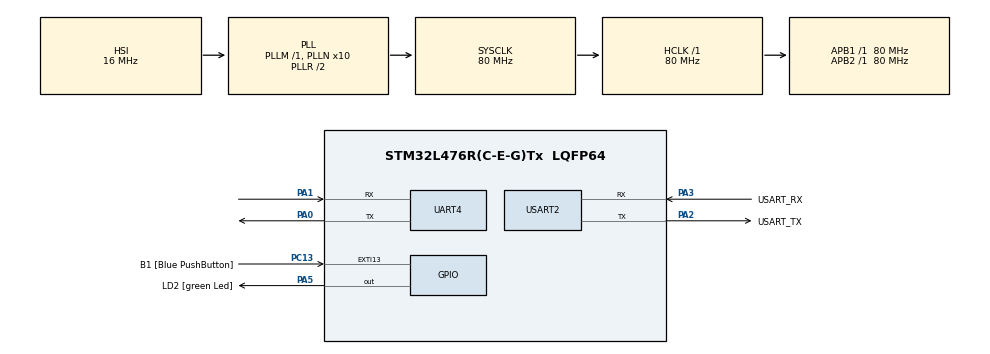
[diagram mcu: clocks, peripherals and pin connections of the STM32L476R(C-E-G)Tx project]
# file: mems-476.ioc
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Mcu.Family=STM32L4
Mcu.Name=STM32L476R(C-E-G)Tx
Mcu.Package=LQFP64
NVIC.PriorityGroup=NVIC_PRIORITYGROUP_4
NVIC.UART4_IRQn=true\:0\:0\:false\:false\:true
NVIC.USART2_IRQn=true\:0\:0\:false\:false\:true
PA0.Mode=Asynchronous
PA0.Signal=UART4_TX
PA1.Mode=Asynchronous
PA1.Signal=UART4_RX
PA13.GPIO_Label=TMS
PA13.Signal=SYS_JTMS-SWDIO
PA14.GPIO_Label=TCK
PA14.Signal=SYS_JTCK-SWCLK
PA2.GPIO_Label=USART_TX
PA2.GPIO_Mode=GPIO_MODE_AF_PP
PA2.GPIO_PuPd=GPIO_NOPULL
PA2.GPIO_Speed=GPIO_SPEED_FREQ_VERY_HIGH
PA2.Mode=Asynchronous
PA2.Signal=USART2_TX
PA3.GPIO_Label=USART_RX
PA3.GPIO_Mode=GPIO_MODE_AF_PP
PA3.GPIO_PuPd=GPIO_NOPULL
PA3.GPIO_Speed=GPIO_SPEED_FREQ_VERY_HIGH
PA3.Mode=Asynchronous
PA3.Signal=USART2_RX
PA5.GPIO_Label=LD2 [green Led]
PA5.GPIO_ModeDefaultOutputPP=GPIO_MODE_OUTPUT_PP
PA5.GPIO_PuPd=GPIO_NOPULL
PA5.GPIO_Speed=GPIO_SPEED_FREQ_LOW
PA5.Signal=GPIO_Output
PB3.GPIO_Label=SWO
PB3.Signal=SYS_JTDO-SWO
PC13.GPIO_Label=B1 [Blue PushButton]
PC13.GPIO_ModeDefaultEXTI=GPIO_MODE_EVT_RISING
PC13.GPIO_PuPd=GPIO_NOPULL
PC13.Signal=GPXTI13
PC14/OSC32_IN.Signal=RCC_OSC32_IN
PC15/OSC32_OUT.Signal=RCC_OSC32_OUT
PH0/OSC_IN.Signal=RCC_OSC_IN
PH1/OSC_OUT.Signal=RCC_OSC_OUT
ProjectManager.HeapSize=0x200
ProjectManager.StackSize=0x400
ProjectManager.TargetToolchain=SW4STM32
RCC.ADCFreq_Value=64000000
RCC.AHBFreq_Value=80000000
RCC.APB1Freq_Value=80000000
RCC.APB1TimFreq_Value=80000000
RCC.APB2Freq_Value=80000000
RCC.APB2TimFreq_Value=80000000
RCC.CortexFreq_Value=80000000
RCC.HCLKFreq_Value=80000000
RCC.HSE_VALUE=8000000
RCC.HSI_VALUE=16000000
RCC.LSE_VALUE=32768
RCC.MSI_VALUE=4000000
RCC.PLLN=10
RCC.PLLSourceVirtual=RCC_PLLSOURCE_HSI
RCC.PREFETCH_ENABLE=1
RCC.SYSCLKFreq_VALUE=80000000
RCC.SYSCLKSource=RCC_SYSCLKSOURCE_PLLCLK
RCC.USBFreq_Value=64000000
RCC.VCOOutputFreq_Value=160000000
UART4.WordLength=UART_WORDLENGTH_8B
USART2.WordLength=UART_WORDLENGTH_8B
board=NUCLEO-L476RG

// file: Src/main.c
/**
  ******************************************************************************
  * File Name          : main.c
  * Description        : Main program body
  ******************************************************************************
  */
#include "stm32l4xx_hal.h"

/* USER CODE BEGIN Includes */
#include <stdbool.h>
#include <math.h>
#include <float.h>
#include "arm_math.h"
#include "stm32l4xx_nucleo.h"
#include "x_nucleo_iks01a1_temperature.h"
#include "x_nucleo_iks01a1_humidity.h"
#include "x_nucleo_iks01a1_magneto.h"
#include "x_nucleo_iks01a1_accelero.h"
#include "Trace.h"
#include "crc.h"
#include "least_squares.h"
#include "sphere-fit.h"
/* USER CODE END Includes */

UART_HandleTypeDef huart4;
UART_HandleTypeDef huart2;

/* USER CODE BEGIN PV */
/* Private variables ---------------------------------------------------------*/

#pragma pack(push)
#pragma pack(2)
typedef struct
{
    uint16_t    stx;
    uint16_t    seq;
    int16_t     b[3];   //  Magnetometer
    int16_t     g[3];   //  Accelerometer
    int16_t     w[3];   //  Gyroscope
    uint16_t    crc;
} sample_t;
#pragma pack(pop)

#define SAMPLE_STX  0x5555

static void*    tmpHnd;
static void*    hmdHnd;
static void*    magHnd;
static void*    accHnd;

static float    magSensitivity;
static float    accSensitivity;

//  TODO    use C++ as a better C
//static const int                  M = 100;

//#define USE_TEST_DATA
#define M 100           //  10 times a second, 10 seconds
float   cal_values[3];
float   cal_params[4];

/* USER CODE END PV */

void SystemClock_Config(void);
void Error_Handler(void);
static void MX_GPIO_Init(void);
static void MX_UART4_Init(void);
static void MX_USART2_UART_Init(void);

/* USER CODE BEGIN PFP */
/* Private function prototypes -----------------------------------------------*/
extern void initialise_monitor_handles( void );

#define min(a,b) \
   ({ __typeof__ (a) _a = (a); \
       __typeof__ (b) _b = (b); \
     _a < _b ? _a : _b; })

#define max(a,b) \
   ({ __typeof__ (a) _a = (a); \
       __typeof__ (b) _b = (b); \
     _a > _b ? _a : _b; })

/* USER CODE END PFP */

/* USER CODE BEGIN 0 */

/**
 * Calculate the residual and partial derivatives for a value vector.
 *
 * @param   x       the sample values (x, y, z).
 * @param   b       the N parameters values (a, b, c, r).
 * @param   j       the N partial derivatives to be filled in.
 *
 * @return  the residual for this sample.
 */

//static float32_t fx(    uint32_t            i,
//                        const float32_t*    b,
//                        float32_t*          j )
//{
//    float   pwr;
//
//    arm_sub_f32( cal_values[i], (float32_t*)b, j, 3 );          //  J = X - B
//    arm_power_f32( j, 3, &pwr );        //  pwr = (x-a)^2 + (y-b)^2 + (z-c)^2
//
//    j[3] = b[3];                        //  df/dr = r
//    arm_scale_f32( j, -2.0, j, 4 );     //  scale everything by -2
//
//    //  (x-a)^2 + (y-b)^2 + (z-c)^2 - r^2
//    return pwr - ( b[3] * b[3] );
//}

static void checkCalibration( bool force )
{
    DrvStatusTypeDef    status;
    SensorAxesRaw_t     axes;

    if ( !force && BSP_PB_GetState( BUTTON_USER ) )
    {
        return;
    }

    sphere_fit_init();

#ifdef USE_TEST_DATA
//    sphere_fit_pnt( 8.9129979413812240, 13.2544157159778480, 20.0881828807218770 );
//    sphere_fit_pnt( 7.2598045769044570, 12.5417470253629300, 20.2346573196046000 );
//    sphere_fit_pnt( 7.8738424666584930, 12.8905587195475860, 20.1216148013347000 );
//    sphere_fit_pnt( 7.4232683487079845, 12.8675403169556370, 20.3211186336997540 );
//    sphere_fit_pnt( 8.6775710169102320, 11.1809115776406890, 20.2495063004654400 );
//    sphere_fit_pnt( 9.0869435469348140, 12.0536281136592760, 19.8884044880361340 );
//    sphere_fit_pnt( 8.3811460486387240, 12.9677740228016220, 19.8809695876807000 );
//    sphere_fit_pnt( 7.9122793899494230, 13.5679572316817560, 20.0775710461557100 );
//    sphere_fit_pnt( 9.0608001018391470, 12.4775654341670850, 19.4844953719025260 );
//    sphere_fit_pnt( 8.5155725388313480, 12.6619991843578640, 20.1781024656281360 );

    cal_values[0][0] =  8.9129979413812240;
    cal_values[0][1] = 13.2544157159778480;
    cal_values[0][2] = 20.0881828807218770;
    cal_values[1][0] =  7.2598045769044570;
    cal_values[1][1] = 12.5417470253629300;
    cal_values[1][2] = 20.2346573196046000;
    cal_values[2][0] =  7.8738424666584930;
    cal_values[2][1] = 12.8905587195475860;
    cal_values[2][2] = 20.1216148013347000;
    cal_values[3][0] =  7.4232683487079845;
    cal_values[3][1] = 12.8675403169556370;
    cal_values[3][2] = 20.3211186336997540;
    cal_values[4][0] =  8.6775710169102320;
    cal_values[4][1] = 11.1809115776406890;
    cal_values[4][2] = 20.2495063004654400;
    cal_values[5][0] =  9.0869435469348140;
    cal_values[5][1] = 12.0536281136592760;
    cal_values[5][2] = 19.8884044880361340;
    cal_values[6][0] =  8.3811460486387240;
    cal_values[6][1] = 12.9677740228016220;
    cal_values[6][2] = 19.8809695876807000;
    cal_values[7][0] =  7.9122793899494230;
    cal_values[7][1] = 13.5679572316817560;
    cal_values[7][2] = 20.0775710461557100;
    cal_values[8][0] =  9.0608001018391470;
    cal_values[8][1] = 12.4775654341670850;
    cal_values[8][2] = 19.4844953719025260;
    cal_values[9][0] =  8.5155725388313480;
    cal_values[9][1] = 12.6619991843578640;
    cal_values[9][2] = 20.1781024656281360;

    for ( int i = 0; i < M; i++ )
    {
        sphere_fit_data( cal_values[i] );
    }
#else
    printf( "\n\nMagnetometer calibration.\n" );
    for ( int i = 3; i > 0; --i )
    {
        trace_printf( "Starting in %d...\n", i );
        HAL_Delay( 1000 );
    }
    printf( "Collecting data....\n" );

    //  Take a reading every 100 milliseconds until full.
    int     remaining   = M;
    while ( remaining > 0 )
    {
        HAL_Delay( 100 );
        status = BSP_MAGNETO_Get_AxesRaw( magHnd, &axes );
        if ( status != COMPONENT_OK )
        {
            //  TODO    error
            continue;
        }

        //  Convert to milli-Gauss.
        cal_values[0] = axes.AXIS_X * magSensitivity / 1000.0;
        cal_values[1] = axes.AXIS_Y * magSensitivity / 1000.0;
        cal_values[2] = axes.AXIS_Z * magSensitivity / 1000.0;
        sphere_fit_data( cal_values );
        --remaining;
        trace_printf( "%d\n", remaining );
    }
#endif

    //  Setup initial guess: use the mean values.
    sphere_fit_mean( cal_params );
#ifdef USE_TEST_DATA
    cal_params[3]    = 1.0;
#else
    cal_params[3]    = 0.45;        //  average magnetic field in Gauss.
#endif

    trace_printf( "Data collected, calibrating...\n\n" );
//    lsq_optimize( cal_params, M, fx );
    sphere_fit_calc( cal_params );

//    printf( "\nPlace the board face UP and press the blue button...\n" );
//    for ( int i = 3; i > 0; --i )
//    {
//        trace_printf( "Starting in %d...\n", i );
//        HAL_Delay( 1000 );
//    }
//    printf( "Hit it....\n" );
//    while ( BSP_PB_GetState( BUTTON_USER ) )
//    {
//        //  do nothing...
//    }
//
//    //  TODO    measure positive +1g
//    status = BSP_ACCELERO_Get_AxesRaw( accHnd, &axes );
//    float Gx = axes.AXIS_X * accSensitivity / 1000.0f;
//    float Gy = axes.AXIS_Y * accSensitivity / 1000.0f;
//    float Gz = axes.AXIS_Z * accSensitivity / 1000.0f;
//    printf( "+1g  x:%5.3f  y:%5.3f  z:%5.3f\n", Gx, Gy, Gz );
//
//    printf( "\nNow place the board face DOWN and press the blue button...\n" );
//    for ( int i = 3; i > 0; --i )
//    {
//        trace_printf( "Starting in %d...\n", i );
//        HAL_Delay( 1000 );
//    }
//    printf( "Hit it....\n" );
//    while ( BSP_PB_GetState( BUTTON_USER ) )
//    {
//        //  do nothing...
//    }
//
//    //  Measure positive -1g
//    status = BSP_ACCELERO_Get_AxesRaw( accHnd, &axes );
//    Gx = axes.AXIS_X * accSensitivity / 1000.0f;
//    Gy = axes.AXIS_Y * accSensitivity / 1000.0f;
//    Gz = axes.AXIS_Z * accSensitivity / 1000.0f;
//    printf( "-1g  x:%5.3f  y:%5.3f  z:%5.3f\n", Gx, Gy, Gz );
//
//    printf( "\nAccelerometer z-axis calibrated.\n\n" );

    trace_printf( "\nCalibration complete.\n\n" );
}

static volatile bool    txDone;

void HAL_UART_TxCpltCallback( UART_HandleTypeDef* huart )
{
    if ( huart == &huart4 )
    {
        txDone = true;
    }
}

/* USER CODE END 0 */

//  Over-sampling factor
#define N 100

int main(void)
{
  /* USER CODE BEGIN 1 */
    sample_t    sample;
    uint16_t    sample_seq = 0u;
  /* USER CODE END 1 */

  /* MCU Configuration----------------------------------------------------------*/

  /* Reset of all peripherals, Initializes the Flash interface and the Systick. */
  HAL_Init();

  /* Configure the system clock */
  SystemClock_Config();

  /* Initialize all configured peripherals */
  MX_GPIO_Init();
  MX_UART4_Init();
  MX_USART2_UART_Init();

  /* USER CODE BEGIN 2 */
    BSP_PB_Init( BUTTON_USER, BUTTON_MODE_GPIO );
    initialise_monitor_handles();

    DrvStatusTypeDef status;

    status = BSP_HUMIDITY_Init( HUMIDITY_SENSORS_AUTO, &hmdHnd );
    if ( status != COMPONENT_OK )
    {
        trace_printf( "Humidity init failed" );
    }
    status = BSP_HUMIDITY_Sensor_Enable( hmdHnd );
    if ( status != COMPONENT_OK )
    {
        trace_printf( "Humidity enable failed" );
    }

    status = BSP_TEMPERATURE_Init( TEMPERATURE_SENSORS_AUTO, &tmpHnd );
    if ( status != COMPONENT_OK )
    {
        trace_printf( "Temp init failed" );
    }
    status = BSP_TEMPERATURE_Sensor_Enable( tmpHnd );
    if ( status != COMPONENT_OK )
    {
        trace_printf( "Temp enable failed" );
    }

    status = BSP_MAGNETO_Init( MAGNETO_SENSORS_AUTO, &magHnd );
    status = BSP_MAGNETO_Sensor_Enable( magHnd );
    status = BSP_MAGNETO_Get_Sensitivity( magHnd, &magSensitivity );

    status = BSP_ACCELERO_Init( ACCELERO_SENSORS_AUTO, &accHnd );
    status = BSP_ACCELERO_Sensor_Enable( accHnd );
    status = BSP_ACCELERO_Get_Sensitivity( accHnd, &accSensitivity );

    float scale;
    status = BSP_MAGNETO_Get_FS( magHnd, &scale );
    trace_printf( "Mag Scale: %f\n", scale );
    trace_printf( "Mag  Sens: %f\n", magSensitivity );

    checkCalibration( true );
  /* USER CODE END 2 */

  /* Infinite loop */
  /* USER CODE BEGIN WHILE */
    txDone = true;
    while ( 1 )
    {
  /* USER CODE END WHILE */

  /* USER CODE BEGIN 3 */
//        checkCalibration( false );

        SensorAxesRaw_t axes;
        int32_t         bx = 0, by = 0, bz = 0;
        int32_t         gx = 0, gy = 0, gz = 0;

        uint32_t        start = HAL_GetTick();
        for ( int i = 0; i < N; i++ )
        {
            status = BSP_MAGNETO_Get_AxesRaw( magHnd, &axes );
            bx += axes.AXIS_X;
            by += axes.AXIS_Y;
            bz += axes.AXIS_Z;

            status = BSP_ACCELERO_Get_AxesRaw( accHnd, &axes );
            gx += axes.AXIS_X;
            gy += axes.AXIS_Y;
            gz += axes.AXIS_Z;
        }
        uint32_t        t = HAL_GetTick() - start;

//        sample.stx = SAMPLE_STX;
//        sample.seq = sample_seq++;
//        sample.b[0] = bx / N;
//        sample.b[1] = by / N;
//        sample.b[2] = bz / N;
//        sample.g[0] = gx / N;
//        sample.g[1] = gy / N;
//        sample.g[2] = gz / N;
//        sample.w[0] = 0;
//        sample.w[1] = 0;
//        sample.w[2] = 0;
//        sample.crc  = crc16_ccitt( &sample, 22 );
//
//        while ( !txDone )
//        {
//            HAL_Delay( 5 );
//        }
//
//        txDone = false;
//        HAL_UART_Transmit_IT( &huart4, (uint8_t*)&sample, sizeof(sample) );

        //  Convert to Gauss.
        //  Fix orientation - NED (North, East, Down).
        float   Bx = ( by / (float)N * magSensitivity / 1000.0 ) - cal_params[1];
        float   By = ( bx / (float)N * magSensitivity / 1000.0 ) - cal_params[0];
        float   Bz = (-bz / (float)N * magSensitivity / 1000.0 ) - cal_params[2];
//        trace_printf( "                    Bx %7.4f  By %7.4f  Bz %7.4f\n", Bx, By, Bz );
//        continue;

        //  Convert to G
        //  Fix orientation - NED (North, East, Down).
        float   Gx = (float) gy * accSensitivity / (float)N / 1000.0;
        float   Gy = (float) gx * accSensitivity / (float)N / 1000.0;
        float   Gz = (float) gz * accSensitivity / (float)N / 1000.0;
//        trace_printf( "                    Gx %7.4f  Gy %7.4f  Gz %7.4f\n", Gx, Gy, Gz );
//        continue;

        //  Roll angle, ϕ.
        //  Use ATAN, to limit result to +/- 90 degrees.
        //  TODO    gz == 0 ???
        float   phi = atanf( Gy / Gz ) * 180.0f * M_1_PI;

        float   sinPhi;
        float   cosPhi;
        arm_sin_cos_f32( phi, &sinPhi, &cosPhi );

        //  Pitch angle, θ.
        //  Use ATAN2, to limit result to +/- 180 degrees.
        float tmp   = ( Gy * sinPhi ) + ( Gz * cosPhi );
        float theta = atan2f( -Gx, tmp ) * 180.0f * M_1_PI;

        float   sinTheta;
        float   cosTheta;
        arm_sin_cos_f32( theta, &sinTheta, &cosTheta );

        //  Yaw angle, ψ.
//        float   num = ( By * cosPhi ) - ( Bz * sinPhi );
        float   num = ( Bz * sinPhi ) - ( By * cosPhi );
        float   den = ( Bx * cosTheta ) + ( By * sinTheta * sinPhi ) + ( Bz * sinTheta * cosPhi );
        float   psi = atan2f( num, den ) * 180.0f * M_1_PI;
        if ( psi < 0.0 )
        {
            psi += 360.0;
        }

////        BSP_LED_Toggle( LED2 );
////        printf( "Tmp: %f\n", temp );
////        printf( "Hum: %f\n", humd );
        float  hdg = atan2f( Bx, By ) * 180.0f * M_1_PI;
        if ( hdg < 0.0 )
        {
            hdg += 360.0;
        }

        trace_printf( "T %4d  Hdg %6.2f  Psi %6.2f  Phi %6.2f  The %6.2f\n\n",
                      t, hdg, psi, phi, theta );
    }
  /* USER CODE END 3 */
}

/** System Clock Configuration
*/
void SystemClock_Config(void)
{
  RCC_OscInitTypeDef RCC_OscInitStruct;
  RCC_ClkInitTypeDef RCC_ClkInitStruct;
  RCC_PeriphCLKInitTypeDef PeriphClkInit;

  RCC_OscInitStruct.OscillatorType = RCC_OSCILLATORTYPE_HSI;
  RCC_OscInitStruct.HSIState = RCC_HSI_ON;
  RCC_OscInitStruct.HSICalibrationValue = 16;
  RCC_OscInitStruct.PLL.PLLState = RCC_PLL_ON;
  RCC_OscInitStruct.PLL.PLLSource = RCC_PLLSOURCE_HSI;
  RCC_OscInitStruct.PLL.PLLM = 1;
  RCC_OscInitStruct.PLL.PLLN = 10;
  RCC_OscInitStruct.PLL.PLLP = RCC_PLLP_DIV7;
  RCC_OscInitStruct.PLL.PLLQ = RCC_PLLQ_DIV2;
  RCC_OscInitStruct.PLL.PLLR = RCC_PLLR_DIV2;
  if (HAL_RCC_OscConfig(&RCC_OscInitStruct) != HAL_OK)
  {
    Error_Handler();
  }

  RCC_ClkInitStruct.ClockType = RCC_CLOCKTYPE_HCLK|RCC_CLOCKTYPE_SYSCLK
                              |RCC_CLOCKTYPE_PCLK1|RCC_CLOCKTYPE_PCLK2;
  RCC_ClkInitStruct.SYSCLKSource = RCC_SYSCLKSOURCE_PLLCLK;
  RCC_ClkInitStruct.AHBCLKDivider = RCC_SYSCLK_DIV1;
  RCC_ClkInitStruct.APB1CLKDivider = RCC_HCLK_DIV1;
  RCC_ClkInitStruct.APB2CLKDivider = RCC_HCLK_DIV1;
  if (HAL_RCC_ClockConfig(&RCC_ClkInitStruct, FLASH_LATENCY_4) != HAL_OK)
  {
    Error_Handler();
  }

  PeriphClkInit.PeriphClockSelection = RCC_PERIPHCLK_USART2|RCC_PERIPHCLK_UART4;
  PeriphClkInit.Usart2ClockSelection = RCC_USART2CLKSOURCE_PCLK1;
  PeriphClkInit.Uart4ClockSelection = RCC_UART4CLKSOURCE_PCLK1;
  if (HAL_RCCEx_PeriphCLKConfig(&PeriphClkInit) != HAL_OK)
  {
    Error_Handler();
  }

  __HAL_RCC_PWR_CLK_ENABLE();

  if (HAL_PWREx_ControlVoltageScaling(PWR_REGULATOR_VOLTAGE_SCALE1) != HAL_OK)
  {
    Error_Handler();
  }

  HAL_SYSTICK_Config(HAL_RCC_GetHCLKFreq()/1000);

  HAL_SYSTICK_CLKSourceConfig(SYSTICK_CLKSOURCE_HCLK);

  /* SysTick_IRQn interrupt configuration */
  HAL_NVIC_SetPriority(SysTick_IRQn, 0, 0);
}

/* UART4 init function */
static void MX_UART4_Init(void)
{

  huart4.Instance = UART4;
//  huart4.Init.BaudRate = 115200;
  huart4.Init.BaudRate = 230400;
  huart4.Init.WordLength = UART_WORDLENGTH_8B;
  huart4.Init.StopBits = UART_STOPBITS_1;
  huart4.Init.Parity = UART_PARITY_NONE;
  huart4.Init.Mode = UART_MODE_TX_RX;
  huart4.Init.HwFlowCtl = UART_HWCONTROL_NONE;
  huart4.Init.OverSampling = UART_OVERSAMPLING_16;
  huart4.Init.OneBitSampling = UART_ONE_BIT_SAMPLE_DISABLE;
  huart4.AdvancedInit.AdvFeatureInit = UART_ADVFEATURE_NO_INIT;
  if (HAL_UART_Init(&huart4) != HAL_OK)
  {
    Error_Handler();
  }

}

/* USART2 init function */
static void MX_USART2_UART_Init(void)
{

  huart2.Instance = USART2;
  huart2.Init.BaudRate = 115200;
  huart2.Init.WordLength = UART_WORDLENGTH_8B;
  huart2.Init.StopBits = UART_STOPBITS_1;
  huart2.Init.Parity = UART_PARITY_NONE;
  huart2.Init.Mode = UART_MODE_TX_RX;
  huart2.Init.HwFlowCtl = UART_HWCONTROL_NONE;
  huart2.Init.OverSampling = UART_OVERSAMPLING_16;
  huart2.Init.OneBitSampling = UART_ONE_BIT_SAMPLE_DISABLE;
  huart2.AdvancedInit.AdvFeatureInit = UART_ADVFEATURE_NO_INIT;
  if (HAL_UART_Init(&huart2) != HAL_OK)
  {
    Error_Handler();
  }

}

/** Configure pins as
        * Analog
        * Input
        * Output
        * EVENT_OUT
        * EXTI
*/
static void MX_GPIO_Init(void)
{

  GPIO_InitTypeDef GPIO_InitStruct;

  /* GPIO Ports Clock Enable */
  __HAL_RCC_GPIOC_CLK_ENABLE();
  __HAL_RCC_GPIOH_CLK_ENABLE();
  __HAL_RCC_GPIOA_CLK_ENABLE();
  __HAL_RCC_GPIOB_CLK_ENABLE();

  /*Configure GPIO pin : B1_Pin */
  GPIO_InitStruct.Pin = B1_Pin;
  GPIO_InitStruct.Mode = GPIO_MODE_EVT_RISING;
  GPIO_InitStruct.Pull = GPIO_NOPULL;
  HAL_GPIO_Init(B1_GPIO_Port, &GPIO_InitStruct);

  /*Configure GPIO pin : LD2_Pin */
  GPIO_InitStruct.Pin = LD2_Pin;
  GPIO_InitStruct.Mode = GPIO_MODE_OUTPUT_PP;
  GPIO_InitStruct.Pull = GPIO_NOPULL;
  GPIO_InitStruct.Speed = GPIO_SPEED_FREQ_LOW;
  HAL_GPIO_Init(LD2_GPIO_Port, &GPIO_InitStruct);

  /*Configure GPIO pin Output Level */
  HAL_GPIO_WritePin(LD2_GPIO_Port, LD2_Pin, GPIO_PIN_RESET);

}

void Error_Handler(void)
{
    while ( 1 )
    {
    }
}
